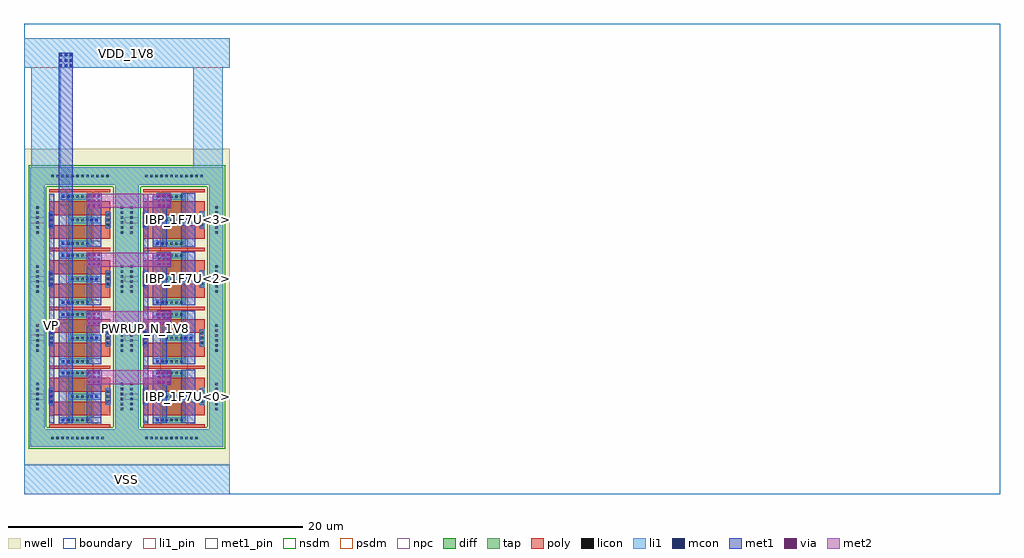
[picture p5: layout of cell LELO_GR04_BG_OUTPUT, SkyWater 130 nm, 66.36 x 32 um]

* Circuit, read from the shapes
.subckt LELO_GR04_BG_OUTPUT IBP_1F7U<0> IBP_1F7U<1> IBP_1F7U<2> IBP_1F7U<3> PWRUP_N_1V8 VDD_1V8 VP VSS
XM1 JNWATR_PCH_4C5F0_7/D VP VDD_1V8 VDD_1V8 sky130_fd_pr__pfet_01v8 w=1.6 l=0.94 m=2
XM2 JNWATR_PCH_4C5F0_9/D VP VDD_1V8 VDD_1V8 sky130_fd_pr__pfet_01v8 w=1.6 l=0.94 m=2
XM3 JNWATR_PCH_4C5F0_10/D VP VDD_1V8 VDD_1V8 sky130_fd_pr__pfet_01v8 w=1.6 l=0.94 m=2
XM4 JNWATR_PCH_4C5F0_11/D VP VDD_1V8 VDD_1V8 sky130_fd_pr__pfet_01v8 w=1.6 l=0.94 m=2
XM5 IBP_1F7U<0> PWRUP_N_1V8 JNWATR_PCH_4C5F0_7/D VDD_1V8 sky130_fd_pr__pfet_01v8 w=1.6 l=0.94 m=2
XM6 IBP_1F7U<1> PWRUP_N_1V8 JNWATR_PCH_4C5F0_9/D VDD_1V8 sky130_fd_pr__pfet_01v8 w=1.6 l=0.94 m=2
XM7 IBP_1F7U<2> PWRUP_N_1V8 JNWATR_PCH_4C5F0_10/D VDD_1V8 sky130_fd_pr__pfet_01v8 w=1.6 l=0.94 m=2
XM8 IBP_1F7U<3> PWRUP_N_1V8 JNWATR_PCH_4C5F0_11/D VDD_1V8 sky130_fd_pr__pfet_01v8 w=1.6 l=0.94 m=2
.ends

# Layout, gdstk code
import gdstk
lib = gdstk.Library(unit=1e-6, precision=1e-09)
def R(c, l, rs):  # rectangles x0, y0, x1, y1
    for r in rs: c.add(gdstk.rectangle(r[:2], r[2:], *l))
def A(c, l, x, y, w, h, nx, ny, dx, dy):  # array of equal rectangles
    R(c, l, [(x+i*dx, y+j*dy, x+i*dx+w, y+j*dy+h) for i in range(nx) for j in range(ny)])
nwell = (64, 20)
diff = (65, 20)
tap = (65, 44)
poly = (66, 20)
licon = (66, 44)
li1_pin = (67, 16)
li1 = (67, 20)
mcon = (67, 44)
met1_pin = (68, 16)
met1 = (68, 20)
via = (68, 44)
met2 = (69, 20)
nsdm = (93, 44)
psdm = (94, 20)
npc = (95, 20)
boundary = (235, 4)

jnwatr_pch_4ctaptop = lib.new_cell('JNWATR_PCH_4CTAPTOP')
R(jnwatr_pch_4ctaptop, nwell, [(-0.92,-0.64,6.68,3.04)])
R(jnwatr_pch_4ctaptop, tap, [(-0.48,-0.2,0.48,0.6), (5.28,-0.2,6.24,0.6), (-0.48,0.6,6.24,1.8)])
A(jnwatr_pch_4ctaptop, licon, 0.925, 1.115, 0.17, 0.17, 12, 1, 0.34, 0)
R(jnwatr_pch_4ctaptop, li1, [(-0.48,-0.2,0.48,0.6), (5.28,-0.2,6.24,0.6), (-0.48,0.6,6.24,1.8)])
R(jnwatr_pch_4ctaptop, nsdm, [(-0.605,-0.325,0.605,0.475), (5.155,-0.325,6.365,0.475), (-0.605,0.475,6.365,1.925)])
R(jnwatr_pch_4ctaptop, boundary, [(0,0,5.76,2.4)])

jnwatr_pch_4ctapbot = lib.new_cell('JNWATR_PCH_4CTAPBOT')
R(jnwatr_pch_4ctapbot, nwell, [(-0.92,-0.64,6.68,3.04)])
R(jnwatr_pch_4ctapbot, tap, [(-0.48,0.6,6.24,1.8), (-0.48,1.8,0.48,2.6), (5.28,1.8,6.24,2.6)])
A(jnwatr_pch_4ctapbot, licon, 0.935, 1.115, 0.17, 0.17, 11, 1, 0.34, 0)
R(jnwatr_pch_4ctapbot, li1, [(-0.48,0.6,6.24,1.8), (-0.48,1.8,0.48,2.6), (5.28,1.8,6.24,2.6)])
R(jnwatr_pch_4ctapbot, nsdm, [(-0.605,0.475,6.365,1.925), (-0.605,1.925,0.605,2.725), (5.155,1.925,6.365,2.725)])
R(jnwatr_pch_4ctapbot, boundary, [(0,0,5.76,2.4)])

jnwatr_pch_4c5f0 = lib.new_cell('JNWATR_PCH_4C5F0')
R(jnwatr_pch_4c5f0, nwell, [(-0.92,-0.64,6.68,4.64)])
R(jnwatr_pch_4c5f0, diff, [(2.08,0.2,3.68,3.8)])
R(jnwatr_pch_4c5f0, tap, [(-0.48,-0.2,0.48,4.2), (5.28,-0.2,6.24,4.2)])
R(jnwatr_pch_4c5f0, poly, [(0.8,-0.11,4.96,0.11), (0.8,0.73,4.96,1.67), (0.8,1.67,1.12,2.33), (4.64,1.67,4.96,2.33), (0.8,2.33,4.96,3.27), (0.8,3.89,4.96,4.11)])
A(jnwatr_pch_4c5f0, licon, 2.285, 0.315, 0.17, 0.17, 4, 3, 0.34, 1.6)
A(jnwatr_pch_4c5f0, licon, -0.085, 1.065, 0.17, 0.17, 1, 6, 0, 0.34)
A(jnwatr_pch_4c5f0, licon, 5.675, 1.065, 0.17, 0.17, 1, 6, 0, 0.34)
A(jnwatr_pch_4c5f0, licon, 0.87, 1.575, 0.17, 0.17, 1, 3, 0, 0.34)
A(jnwatr_pch_4c5f0, licon, 4.71, 1.575, 0.17, 0.17, 1, 3, 0, 0.34)
R(jnwatr_pch_4c5f0, li1_pin, [(-0.48,1.8,0.48,2.2)])
R(jnwatr_pch_4c5f0, li1, [(-0.48,-0.2,0.48,4.2), (5.28,-0.2,6.24,4.2), (1.44,0.2,3.68,0.6), (0.8,1.4,1.12,2.6), (4.64,1.4,4.96,2.6), (2.08,1.8,4.32,2.2), (1.44,3.4,3.68,3.8)])
A(jnwatr_pch_4c5f0, mcon, 0.87, 1.555, 0.17, 0.17, 1, 3, 0, 0.36)
R(jnwatr_pch_4c5f0, mcon, [(1.655,0.315,1.825,0.485), (2.015,0.315,2.185,0.485), (3.575,1.915,3.745,2.085), (3.935,1.915,4.105,2.085), (1.655,3.515,1.825,3.685), (2.015,3.515,2.185,3.685)])
R(jnwatr_pch_4c5f0, met1_pin, [(3.36,0.2,4.32,0.6), (0.8,1.8,1.12,2.2), (1.44,3,2.4,3.4)])
R(jnwatr_pch_4c5f0, met1, [(0.8,0.2,1.12,3.8), (1.44,0.2,2.4,3.8), (3.36,0.2,4.32,3.8)])
R(jnwatr_pch_4c5f0, nsdm, [(-0.605,-0.325,0.605,4.325), (5.155,-0.325,6.365,4.325)])
R(jnwatr_pch_4c5f0, psdm, [(1.955,0.075,3.805,3.925)])
R(jnwatr_pch_4c5f0, npc, [(0.77,1.475,1.14,2.525), (4.61,1.475,4.98,2.525)])
R(jnwatr_pch_4c5f0, boundary, [(0,0,5.76,4)])
jnwatr_pch_4c5f0.add(gdstk.Label('B', (0,2), layer=67, texttype=5))
jnwatr_pch_4c5f0.add(gdstk.Label('G', (0.96,2), layer=68, texttype=5))
jnwatr_pch_4c5f0.add(gdstk.Label('S', (1.92,3.2), layer=68, texttype=5))
jnwatr_pch_4c5f0.add(gdstk.Label('D', (3.84,0.4), layer=68, texttype=5))

lelo_gr04_bg_output = lib.new_cell('LELO_GR04_BG_OUTPUT')
R(lelo_gr04_bg_output, li1_pin, [(0,0,14,2), (0,29,14,31)])
R(lelo_gr04_bg_output, li1, [(0,0,14,2), (0.5,21.5,2.5,29), (11.5,21.5,13.5,29), (0,29,14,31)])
A(lelo_gr04_bg_output, mcon, 2.395, 29.055, 0.17, 0.17, 3, 3, 0.36, 0.36)
A(lelo_gr04_bg_output, met1_pin, 10.68, 4.84, 0.96, 3.64, 1, 4, 0, 4)
R(lelo_gr04_bg_output, met1_pin, [(8.12,4.935,8.44,17.59), (1.72,5.34,2.04,17.66)])
A(lelo_gr04_bg_output, met1, 10.68, 4.84, 0.96, 3.64, 1, 4, 0, 4)
A(lelo_gr04_bg_output, met1, 9.02, 7.45, 0.96, 1.02, 1, 4, 0, 4)
A(lelo_gr04_bg_output, met1, 4.25, 7.48, 1.02, 0.96, 1, 4, 0, 4)
R(lelo_gr04_bg_output, met1, [(8.12,4.935,8.44,17.59), (1.72,5.34,2.04,17.66), (2.36,5.52,3.32,30.01)])
A(lelo_gr04_bg_output, via, 4.365, 7.565, 0.15, 0.15, 3, 3, 0.32, 0.32)
A(lelo_gr04_bg_output, via, 9.105, 7.565, 0.15, 0.15, 3, 3, 0.32, 0.32)
A(lelo_gr04_bg_output, via, 4.365, 11.565, 0.15, 0.15, 3, 3, 0.32, 0.32)
A(lelo_gr04_bg_output, via, 9.105, 11.565, 0.15, 0.15, 3, 3, 0.32, 0.32)
A(lelo_gr04_bg_output, via, 4.365, 15.565, 0.15, 0.15, 3, 3, 0.32, 0.32)
A(lelo_gr04_bg_output, via, 9.105, 15.565, 0.15, 0.15, 3, 3, 0.32, 0.32)
A(lelo_gr04_bg_output, via, 4.365, 19.565, 0.15, 0.15, 3, 3, 0.32, 0.32)
A(lelo_gr04_bg_output, via, 9.105, 19.565, 0.15, 0.15, 3, 3, 0.32, 0.32)
A(lelo_gr04_bg_output, met2, 4.28, 7.48, 5.73, 0.96, 1, 4, 0, 4)
R(lelo_gr04_bg_output, met2, [(4.28,7.45,5.24,7.48), (4.28,8.44,5.24,8.47), (4.28,11.45,5.24,11.48), (4.28,12.44,5.24,12.47), (4.28,15.45,5.24,15.48), (4.28,16.44,5.24,16.47), (4.28,19.45,5.24,19.48), (4.28,20.44,5.24,20.47)])
A(lelo_gr04_bg_output, psdm, 2.875, 8.565, 1.85, 0.15, 1, 3, 0, 4)
A(lelo_gr04_bg_output, psdm, 9.275, 8.565, 1.85, 0.15, 1, 3, 0, 4)
R(lelo_gr04_bg_output, boundary, [(0,0,66.36,32)])
lelo_gr04_bg_output.add(gdstk.Reference(jnwatr_pch_4ctaptop, (0.92,20.44)))
lelo_gr04_bg_output.add(gdstk.Reference(jnwatr_pch_4ctaptop, (7.32,20.44)))
lelo_gr04_bg_output.add(gdstk.Reference(jnwatr_pch_4ctapbot, (0.92,2.64)))
lelo_gr04_bg_output.add(gdstk.Reference(jnwatr_pch_4c5f0, (7.32,12.64)))
lelo_gr04_bg_output.add(gdstk.Reference(jnwatr_pch_4c5f0, (7.32,16.64)))
lelo_gr04_bg_output.add(gdstk.Reference(jnwatr_pch_4ctapbot, (7.32,2.64)))
lelo_gr04_bg_output.add(gdstk.Reference(jnwatr_pch_4c5f0, (7.32,8.64)))
lelo_gr04_bg_output.add(gdstk.Reference(jnwatr_pch_4c5f0, (0.92,4.64)))
lelo_gr04_bg_output.add(gdstk.Reference(jnwatr_pch_4c5f0, (7.32,4.64)))
lelo_gr04_bg_output.add(gdstk.Reference(jnwatr_pch_4c5f0, (0.92,8.64)))
lelo_gr04_bg_output.add(gdstk.Reference(jnwatr_pch_4c5f0, (0.92,12.64)))
lelo_gr04_bg_output.add(gdstk.Reference(jnwatr_pch_4c5f0, (0.92,16.64)))
lelo_gr04_bg_output.add(gdstk.Label('VDD_1V8', (7,30), layer=67, texttype=5))
lelo_gr04_bg_output.add(gdstk.Label('VSS', (7,1), layer=67, texttype=5))
lelo_gr04_bg_output.add(gdstk.Label('PWRUP_N_1V8', (8.28,11.262), layer=68, texttype=5))
lelo_gr04_bg_output.add(gdstk.Label('IBP_1F7U<2>', (11.16,14.66), layer=68, texttype=5))
lelo_gr04_bg_output.add(gdstk.Label('IBP_1F7U<1>', (11.16,10.66), layer=68, texttype=5))
lelo_gr04_bg_output.add(gdstk.Label('IBP_1F7U<3>', (11.16,18.66), layer=68, texttype=5))
lelo_gr04_bg_output.add(gdstk.Label('IBP_1F7U<0>', (11.16,6.66), layer=68, texttype=5))
lelo_gr04_bg_output.add(gdstk.Label('VP', (1.88,11.5), layer=68, texttype=5))

lib.write_gds('LELO_GR04_BG_OUTPUT.gds')
